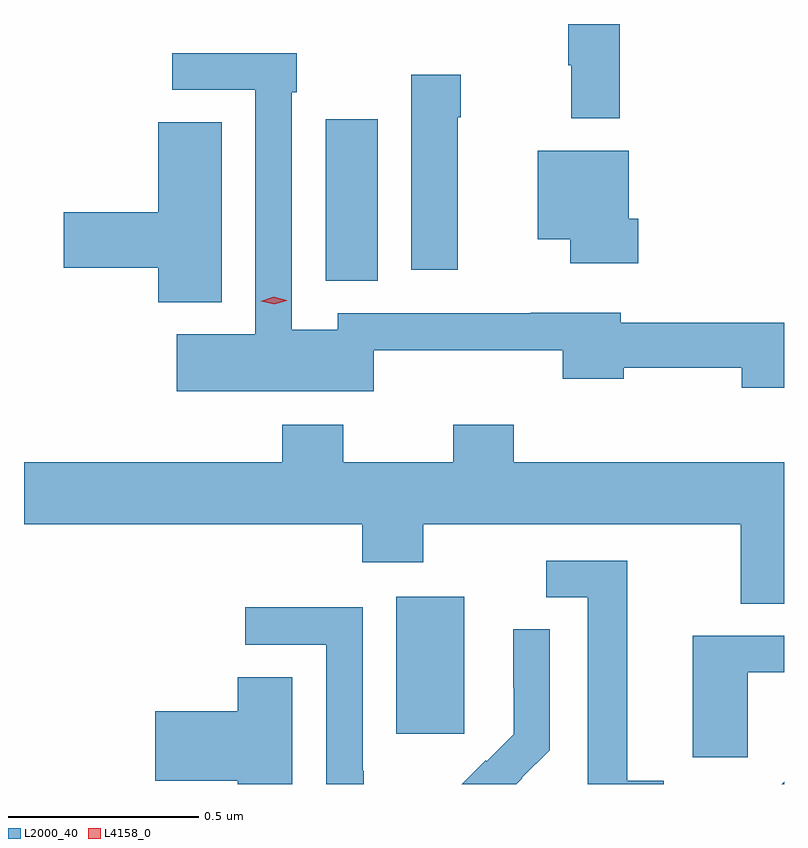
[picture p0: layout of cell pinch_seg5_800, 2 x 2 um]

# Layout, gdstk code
import gdstk
lib = gdstk.Library(unit=1e-6, precision=1e-09)
def R(c, l, rs):  # rectangles x0, y0, x1, y1
    for r in rs: c.add(gdstk.rectangle(r[:2], r[2:], *l))
def P(c, l, *ps):  # polygons
    for p in ps: c.add(gdstk.Polygon(p, *l))
L2000_40 = (2000, 40)
L4158_0 = (4158, 0)

pinch_seg5_800 = lib.new_cell('pinch_seg5_800')
R(pinch_seg5_800, L2000_40, [(773.825,906.825,774.004,907.186), (773.639,908.017,773.776,908.443)])
P(pinch_seg5_800, L2000_40, [(774.413,908.693),(774.277,908.693),(774.277,908.585),(774.285,908.585),(774.285,908.445),(774.413,908.445)],
  [(773.766,907.835),(774.263,907.835),(774.263,907.76),(774.423,907.76),(774.423,907.789),(774.734,907.789),(774.734,907.736),(774.845,907.736),(774.845,907.907),(774.415,907.907),(774.415,907.933),(774.179,907.933),(774.179,907.932),(773.67,907.932),(773.67,907.888),(773.55,907.888),(773.55,908.513),(773.563,908.513),(773.563,908.616),(773.235,908.616),(773.235,908.52),(773.454,908.52),(773.454,907.876),(773.247,907.876),(773.247,907.727),(773.766,907.727)],
  [(773.986,908.447),(773.994,908.447),(773.994,908.56),(773.864,908.56),(773.864,908.046),(773.986,908.046)],
  [(773.365,908.435),(773.198,908.435),(773.198,908.198),(772.95,908.198),(772.95,908.051),(773.198,908.051),(773.198,907.961),(773.365,907.961)],
  [(774.461,908.181),(774.436,908.181),(774.436,908.359),(774.197,908.359),(774.197,908.126),(774.283,908.126),(774.283,908.063),(774.461,908.063)],
  [(774.845,907.54),(774.134,907.54),(774.134,907.639),(773.974,907.639),(773.974,907.54),(773.685,907.54),(773.685,907.639),(773.525,907.639),(773.525,907.54),(772.845,907.54),(772.845,907.376),(773.735,907.376),(773.735,907.277),(773.895,907.277),(773.895,907.376),(774.731,907.376),(774.731,907.168),(774.845,907.168)],
  [(774.529,906.701),(774.433,906.701),(774.433,907.281),(774.219,907.281),(774.219,907.185),(774.329,907.185),(774.329,906.693),(774.529,906.693)],
  [(773.739,906.728),(773.736,906.728),(773.736,907.158),(773.427,907.158),(773.427,907.059),(773.64,907.059),(773.64,906.693),(773.739,906.693)],
  [(774.156,906.708),(774.155,906.709),(774.228,906.782),(774.228,907.1),(774.132,907.1),(774.132,906.946),(774.134,906.946),(774.134,906.824),(774.063,906.753),(774.06,906.756),(773.997,906.693),(774.141,906.693)],
  [(774.75,906.987),(774.845,906.987),(774.845,907.083),(774.605,907.083),(774.605,906.763),(774.75,906.763)],
  [(773.551,906.974),(773.408,906.974),(773.408,906.884),(773.19,906.884),(773.19,906.701),(773.408,906.701),(773.408,906.693),(773.551,906.693)],
  [(774.845,906.699),(774.839,906.693),(774.845,906.693)])
P(pinch_seg5_800, L4158_0, [(773.503,907.955),(773.468,907.964),(773.468,907.964),(773.468,907.964),(773.502,907.975),(773.537,907.966),(773.537,907.965),(773.537,907.965)])

lib.write_gds('pinch_seg5_800.gds')
